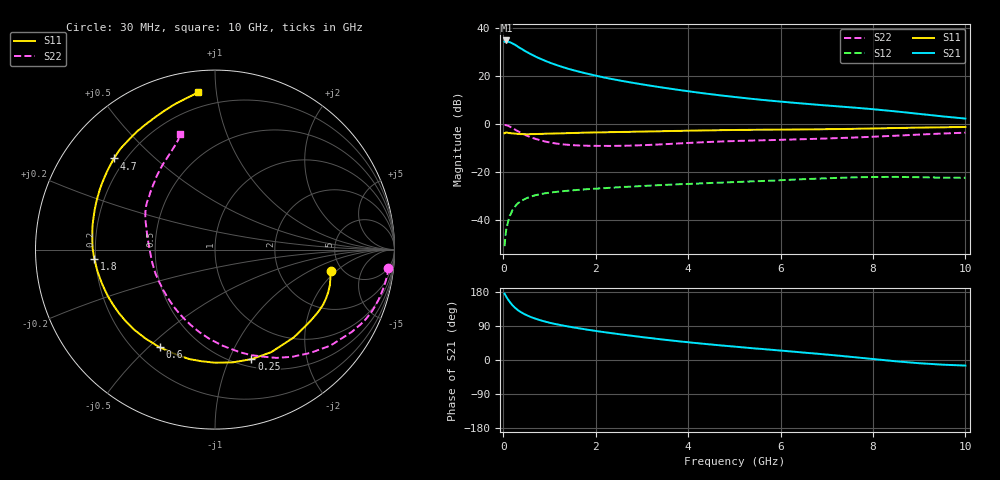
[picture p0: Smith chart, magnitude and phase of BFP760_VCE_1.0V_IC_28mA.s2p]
! Infineon Technologies  Discrete & RF Semiconductors
! BFP760
! VCE =  1.0 V,  IC =  28 mA
! Common Emitter S-Parameters:  Nov 2012
# GHz  S  MA  R  50
!  f  S11  S21  S12  S22
! GHz  MAG  ANG  MAG  ANG  MAG  ANG  MAG  ANG
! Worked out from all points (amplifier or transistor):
!   99 points, 30 MHz to 10 GHz, reference 50 ohm
!   highest |S21| = 35.0 dB at 70 MHz (marker M1)
!   |S21| within 3 dB of that: start of sweep to 348.9 MHz
!   unconditionally stable (mu >= 1): 4.15 GHz to end of sweep
!   at 350 MHz: K = 0.25, MSG = 32.2 dB, |S12| = -32.5 dB
!   at 3.5 GHz: K = 0.93, MSG = 20.2 dB, |S12| = -25.2 dB
!   at 10 GHz: K = 1.13, MAG = 10.1 dB, |S12| = -22.2 dB
!   S11 on the Smith chart (normalised r, x): 30 MHz: 4.04, -1.73; 250 MHz: 0.58, -1.21; 600 MHz: 0.30, -0.54; 1.8 GHz: 0.20, -0.04; 4.7 GHz: 0.16, +0.38; 10 GHz: 0.11, +0.89
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0.03  0.6563 -10.7  52.94 175.0  0.0029 85.2  0.9714 -6.0
0.05  0.6699 -17.1  55.27 170.5  0.005 83.6  0.9672 -10.4
0.07  0.676 -24.0  56.15 166.2  0.0069 73.7  0.9577 -14.9
0.1  0.6677 -33.8  54.05 160.3  0.0089 75.2  0.9406 -21.2
0.15  0.6567 -48.6  51.54 151.9  0.0127 71.6  0.8897 -31.0
0.2  0.6516 -61.3  48.63 144.5  0.0164 64.4  0.8369 -39.7
0.25  0.6435 -71.6  46.01 138.5  0.0191 60.3  0.7832 -47.3
0.35  0.6305 -89.8  39.68 128.7  0.0238 53.8  0.694 -60.4
0.4  0.6265 -96.7  37.36 125.1  0.0258 51.3  0.6519 -66.1
0.5  0.6238 -109.2  32.69 118.6  0.0289 46.5  0.5882 -76.4
0.6  0.6258 -119.5  28.99 113.3  0.0314 42.9  0.538 -85.3
0.8  0.634 -135.3  23.38 105.0  0.0352 38.0  0.4673 -100.9
1  0.6421 -146.9  19.5 98.5  0.0378 34.6  0.422 -114.0
1.7  0.6696 -172.7  12.14 82.4  0.0437 29.3  0.3608 -146.8
1.8  0.6738 -175.4  11.5 80.4  0.0445 29.0  0.3596 -150.3
2.5  0.6947 169.3  8.298 68.3  0.0489 27.1  0.3576 -170.9
3.4  0.7204 153.9  5.95 54.8  0.0543 25.3  0.383 169.4
4.7  0.7578 137.9  4.029 38.6  0.0611 23.0  0.4398 151.8
5.1  0.7667 134.5  3.644 34.3  0.0633 22.2  0.4532 148.0
6.7  0.7899 122.8  2.615 17.6  0.0734 18.1  0.4986 133.7
8.5  0.8408 105.4  1.865 -3.4  0.0805 7.7  0.5815 116.7
10  0.8829 96.1  1.323 -14.7  0.0772 3.7  0.6718 107.1
